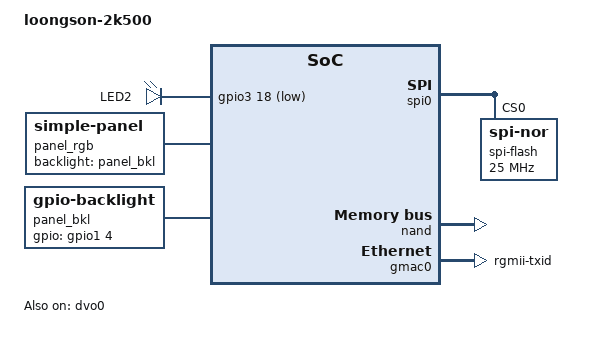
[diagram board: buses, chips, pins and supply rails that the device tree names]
#include "ls2k500.dtsi"
#include <dt-bindings/gpio/gpio.h>
#include <dt-bindings/power-domain/ls2k500-power-domain.h>

/ {
	model = "loongson-2k500";

	chosen {
		stdout-path = "serial2:115200n8";
		bootargs = "earlycon";
	};

	sysinfo-smbios {
		compatible = "u-boot,sysinfo-smbios";
		u-boot,dm-pre-reloc;

		smbios {
			system {
				manufacturer = "Loongson";
				product = "LS2K500";
			};

			baseboard {
				manufacturer = "Loongson";
				product = "LS2K500-MINI-DP";
			};

			chassis {
				manufacturer = "Loongson";
				product = "LS2K500-MINI-DP";
			};
		};
	};

	memory {
		name = "memory";
		device_type = "memory";
		reg = <0x90000000 0x00000000 0 0x10000000
		       0x90000000 0x90000000 0 0x10000000>;
		u-boot,dm-pre-reloc;
	};

	reserved-memory {
		#address-cells = <2>;
		#size-cells = <2>;
		ranges;

		bootparam: bootparam_region {
			reg = <0x90000000 0x0f000000 0x0 0x1000000>;
			no-map;
		};
	};

	mc0: ram@0 {
		compatible = "loongson,ls2k500-ddr";
		u-boot,dm-pre-reloc;

		soc-config-reg = <0x1fe10100>;
		mc-disable-offs = <11>;
		mc-default-offs = <12>;

		sdram-type = "ddr3";	// ddr2/ddr3
		dimm-type = "udimm";	// rdimm/udimm/sodimm

		cs-map = <0x1>;		// bit map: 	bit0 -- cs0
					// 		bit1 -- cs1
					//		bit2 -- cs2
					//		bit3 -- cs3

		data-width = <16>;	// 16/32/64
		sdram-width = <16>;	// 8/16
		sdram-banks = <8>;	// 2/4/8
		sdram-rows = <15>;
		sdram-cols = <10>;

		clk-latency = <0x20>; // 300MHz 0x10 400MHz 0x20
		rd-latency = <0x7>; // 300MHz 0xc 400MHz 0x7
		wr-latency = <0x4>; // 300MHz 0x3 400MHz 0x4
		cmd-timing-mode = <1>;	// 0: 1T mode; 1(default): 2T mode; 2: 3T mode.

		// To enable the feature below, uncomment it.
		/* ecc-enable; */
		/* addr-mirror; */
		/* multi-channel; */
		/* reset-revert; */
	};

	leds {
		compatible = "gpio-leds";

		LED2 {
			label = "LED2";
			gpios = <&gpio3 18 GPIO_ACTIVE_LOW>;
			default-state = "on";
		};
	};

	panel_rgb: panel-rgb {
		compatible = "simple-panel";
		backlight = <&panel_bkl>;

		display-timings {
			native-mode = <&atk_md0430r>;

			atk_md0430r: 800x480 {
				clock-frequency = <27000000>;
				hactive = <800>;
				vactive = <480>;
				hsync-len = <40>;
				hfront-porch = <48>;
				hback-porch = <40>;
				vfront-porch = <13>;
				vback-porch = <32>;
				vsync-len = <0>;
				de-active = <1>;
				hsync-active = <0>;
				vsync-active = <0>;
				pixelclk-active = <0>;
			};
		};
	};

	panel_bkl: backlight {
		compatible = "gpio-backlight";
		gpios = <&gpio1 4 GPIO_ACTIVE_HIGH>;
		// default-on;
	};
};

&spi0 {
	status = "okay";

	spi-flash@0 {
		compatible = "jedec,spi-nor";
		spi-max-frequency = <25000000>; /* input clock */
		reg = <0>; /* CS0 */
	};
};

&nand {
	status = "okay";
};

&gmac0 {
	status = "okay";
	phy-mode = "rgmii-txid";
	// max-speed = <100>;
};

&dvo0 {
	status = "okay";
	connector-type = "panel";	// panel, vga, hdmi
	connector = <&panel_rgb>;
	pix-fmt = "rgb565";
};

&dpm {
	domain_pci {
		offset = <LS2K500_DPM_PCI>;
		mask = <0x30>;
		value = <LS2K500_DPM_TGT_CLKOFF>;
		dpm_en = <0x1>;
	};
	domain_pcie {
		offset = <LS2K500_DPM_PCIE>;
		mask = <0xc0>;
		value = <LS2K500_DPM_TGT_POWEROFF>;
		dpm_en = <0x0>;
	};
	domain_gpu {
		offset = <LS2K500_DPM_GPU>;
		mask = <0x300>;
		value = <LS2K500_DPM_TGT_POWEROFF>;
		dpm_en = <0x1>;
	};
	domain_gmac1 {
		offset = <LS2K500_DPM_GMAC1>;
		mask = <0xc000>;
		value = <LS2K500_DPM_TGT_CLKOFF>;
		dpm_en = <0x1>;
	};
	domain_sata {
		offset = <LS2K500_DPM_SATA>;
		mask = <0x30000>;
		value = <LS2K500_DPM_TGT_POWEROFF>;
		dpm_en = <0x1>;
	};
	domain_usb3 {
		offset = <LS2K500_DPM_USB3>;
		mask = <0x300000>;
		value = <LS2K500_DPM_TGT_POWEROFF>;
		dpm_en = <0x1>;
	};
	domain_hda {
		offset = <LS2K500_DPM_HDA>;
		mask = <0xc00000>;
		value = <LS2K500_DPM_TGT_CLKOFF>;
		dpm_en = <0x1>;
	};
	domain_print {
		offset = <LS2K500_DPM_PRINT>;
		mask = <0x3000000>;
		value = <LS2K500_DPM_TGT_CLKOFF>;
		dpm_en = <0x1>;
	};
};
